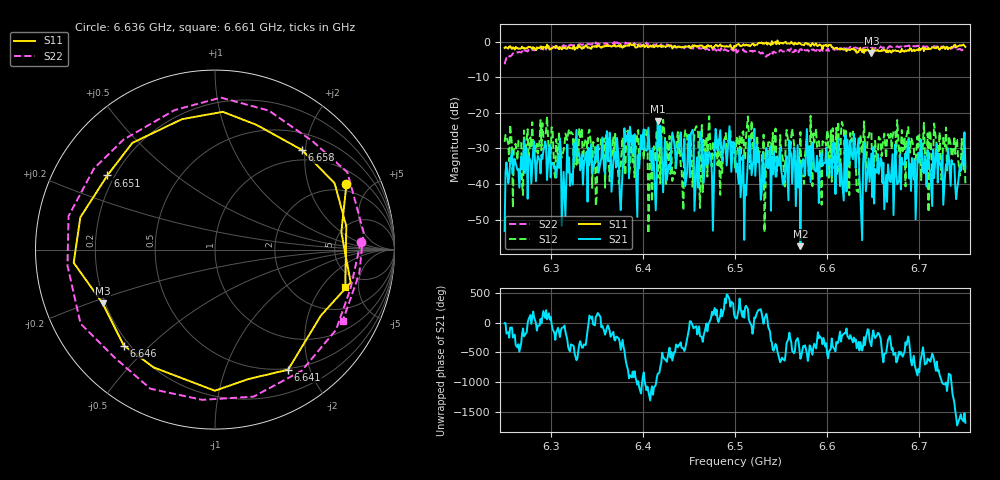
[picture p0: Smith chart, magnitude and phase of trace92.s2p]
# Hz S RI R 50
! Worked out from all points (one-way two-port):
!   401 points, 6.25 GHz to 6.75 GHz, reference 50 ohm
!   highest |S21| = -22.27 dB at 6.416 GHz (marker M1); lowest = -57.4 dB at 6.571 GHz (marker M2)
!   lowest |S11| = -3.2 dB at 6.648 GHz (marker M3), VSWR 5.54, Z = 9.48 - j10.9 ohm
!   |S11| at or under -10 dB: nowhere
!   |S22| runs from -6.3 to -0.1 dB; largest |S21 - S12| = 0.12
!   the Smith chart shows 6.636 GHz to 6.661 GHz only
!   S11 on the Smith chart (normalised r, x): 6.636 GHz: 1.63, +3.57; 6.641 GHz: 0.48, -1.67; 6.646 GHz: 0.18, -0.42; 6.651 GHz: 0.17, +0.30; 6.658 GHz: 0.80, +1.94; 6.661 GHz: 3.63, -3.51
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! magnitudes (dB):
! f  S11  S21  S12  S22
! 6.25 GHz  -1.8  -53.2  -28.1  -6.3
! 6.259 GHz  -1.6  -37.1  -46.6  -3.3
! 6.334 GHz  -2.0  -31.6  -24.3  -0.9
! 6.416 GHz  -1.4  -22.3  -38.3  -1.1
! 6.418 GHz  -1.2  -29.6  -27.8  -1.1
! 6.452 GHz  -1.9  -25.9  -27.6  -1.7
! 6.459 GHz  -1.3  -32.5  -25.1  -1.6
! 6.5 GHz  -1.3  -29.7  -35.3  -2.8
! 6.509 GHz  -0.7  -32.0  -25.2  -2.1
! 6.524 GHz  -0.9  -28.8  -26.3  -2.4
! 6.571 GHz  -0.5  -57.4  -25.4  -2.1
! 6.584 GHz  -0.4  -28.5  -40.6  -2.3
! 6.628 GHz  -2.1  -33.0  -25.2  -1.7
! 6.636 GHz  -1.8  -42.4  -26.1  -1.8
! 6.641 GHz  -2.1  -28.5  -29.2  -1.4
! 6.646 GHz  -2.6  -39.4  -25.4  -1.4
! 6.648 GHz  -3.2  -31.4  -25.3  -1.7
! 6.651 GHz  -2.8  -45.5  -34.9  -2.0
! 6.658 GHz  -2.7  -32.7  -27.7  -1.4
! 6.661 GHz  -2.4  -34.0  -27.8  -1.8
! 6.668 GHz  -2.5  -39.1  -27.6  -1.2
! 6.75 GHz  -1.5  -35.6  -40.2  -2.5
